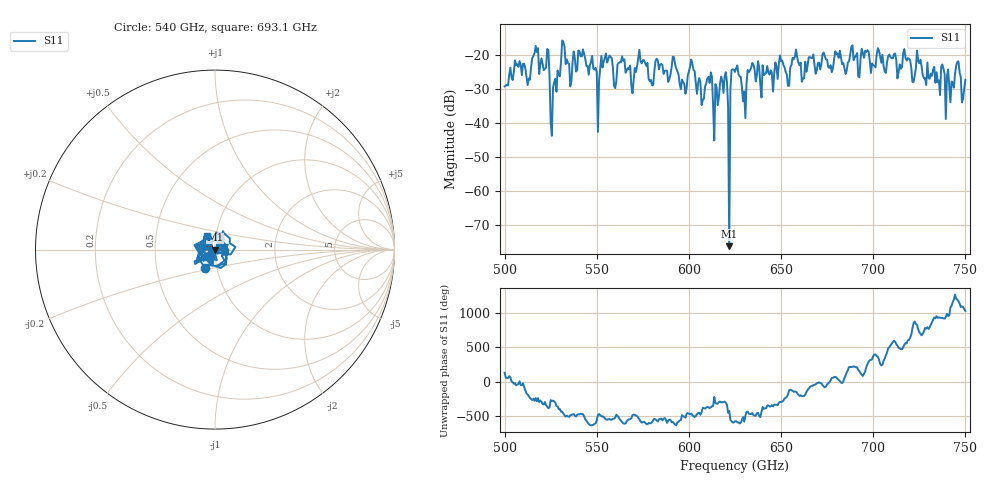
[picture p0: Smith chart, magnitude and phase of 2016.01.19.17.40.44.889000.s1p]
!Created with skrf (http://scikit-rf.org).
# GHz S RI R 50.0
!freq ReS11 ImS11
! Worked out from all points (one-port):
!   401 points, 500 GHz to 750 GHz, reference 50 ohm
!   lowest |S11| = -76.1 dB at 621.9 GHz (marker M1), VSWR 1.00, Z = 50 - j0.0145 ohm
!   |S11| at or under -10 dB: start of sweep to end of sweep
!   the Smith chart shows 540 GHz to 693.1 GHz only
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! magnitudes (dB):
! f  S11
! 500 GHz  -29.3
! 506.9 GHz  -22.8
! 513.1 GHz  -27.0
! 516.9 GHz  -17.4
! 523.1 GHz  -18.4
! 526.2 GHz  -29.8
! 531.2 GHz  -15.8
! 535.6 GHz  -29.3
! 541.9 GHz  -20.5
! 550 GHz  -25.2
! 553.8 GHz  -22.1
! 560 GHz  -29.8
! 562.5 GHz  -22.2
! 593.8 GHz  -24.9
! 601.9 GHz  -22.7
! 607.5 GHz  -33.3
! 611.2 GHz  -28.3
! 614.4 GHz  -28.6
! 619.4 GHz  -26.5
! 620.6 GHz  -27.9
! 621.9 GHz  -76.1
! 625 GHz  -25.1
! 630 GHz  -30.8
! 633.8 GHz  -23.9
! 656.2 GHz  -20.9
! 687.5 GHz  -20.0
! 718.8 GHz  -21.0
! 750 GHz  -27.4
